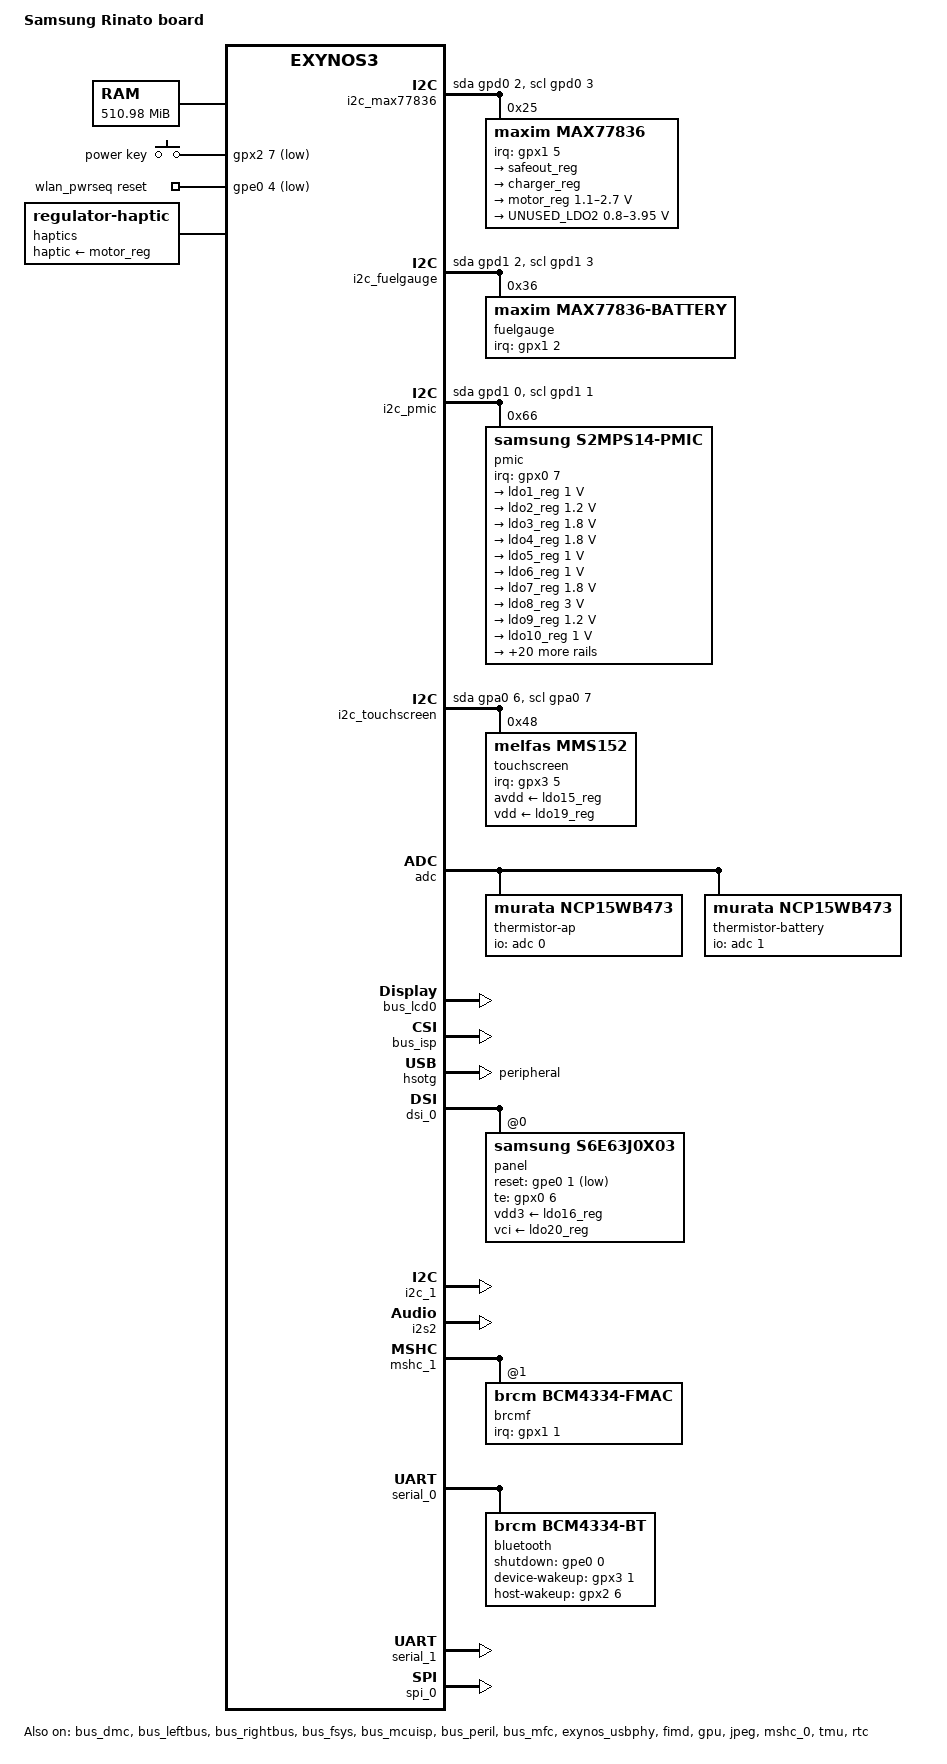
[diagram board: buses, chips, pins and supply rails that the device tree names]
// SPDX-License-Identifier: GPL-2.0
/*
 * Samsung's Exynos3250 based Rinato board device tree source
 *
 * Copyright (c) 2014 Samsung Electronics Co., Ltd.
 *		http://www.samsung.com
 *
 * Device tree source file for Samsung's Rinato board which is based on
 * Samsung Exynos3250 SoC.
 */

/dts-v1/;
#include "exynos3250.dtsi"
#include "exynos4412-ppmu-common.dtsi"
#include <dt-bindings/input/input.h>
#include <dt-bindings/gpio/gpio.h>
#include <dt-bindings/clock/samsung,s2mps11.h>

/ {
	model = "Samsung Rinato board";
	compatible = "samsung,rinato", "samsung,rinato-rev06",
			"samsung,exynos3250", "samsung,exynos3";
	chassis-type = "watch";

	aliases {
		i2c0 = &i2c_pmic;
		i2c1 = &i2c_touchscreen;
		i2c7 = &i2c_max77836;
		i2c14 = &i2c_fuelgauge;
		mmc0 = &mshc_0;
		mmc1 = &mshc_1;
	};

	chosen {
		stdout-path = &serial_1;
	};

	/* For ramoops, recoverable via upload mode */
	reserved-memory {
        #address-cells = <1>;
        #size-cells = <1>;
        ranges;

        ramoops@51000000 {
            compatible = "ramoops";
            reg = <0x51000000 0x100000>;
            record-size = <0x4000>;
            console-size = <0x4000>;
            ftrace-size = <0x4000>;
            pmsg-size = <0x4000>;
            ecc-size = <0x4000>;
			max-reason = <5>; /* Currently KMSG_DUMP_MAX */
        };
	};



	/*
	 * Memory actually starts at 0x40000000,
	 * but retail devices can use the first 16K of RAM for S-Boot debug purposes.
	 * Therefore, make main RAM start a bit later so we can also use this feature.
	 *
	 * Just leaving them in the memory node would result in multiple mappings
	 * and unpredictable behaviour when attempting access in the S-Boot
	 * debug driver.
	 *
	 * Unfortunately, just reserving the memory range doesn't seem to work.
	 */
	memory@40004000 {
		device_type = "memory";
		reg = <0x40004000 0x1fefc000>;
	};

	firmware@205f000 {
		compatible = "samsung,secure-firmware";
		reg = <0x0205f000 0x1000>;
	};

	gpio-keys {
		compatible = "gpio-keys";

		power-key {
			gpios = <&gpx2 7 GPIO_ACTIVE_LOW>;
			linux,code = <KEY_POWER>;
			label = "power key";
			debounce-interval = <10>;
			wakeup-source;
		};
	};

	wlan_pwrseq: mshc1-pwrseq {
		compatible = "mmc-pwrseq-simple";
		reset-gpios = <&gpe0 4 GPIO_ACTIVE_LOW>;
	};

	i2c_max77836: i2c-gpio-0 {
		compatible = "i2c-gpio";
		sda-gpios = <&gpd0 2 (GPIO_ACTIVE_HIGH | GPIO_OPEN_DRAIN)>;
		scl-gpios = <&gpd0 3 (GPIO_ACTIVE_HIGH | GPIO_OPEN_DRAIN)>;
		#address-cells = <1>;
		#size-cells = <0>;

		max77836: pmic@25 {
			compatible = "maxim,max77836";
			interrupt-parent = <&gpx1>;
			interrupts = <5 IRQ_TYPE_NONE>;
			reg = <0x25>;
			wakeup-source;

			extcon {
				compatible = "maxim,max77836-muic";
			};

			regulators {
				compatible = "maxim,max77836-regulator";
				safeout_reg: SAFEOUT {
					regulator-name = "SAFEOUT";
				};

				charger_reg: CHARGER {
					regulator-name = "CHARGER";
					regulator-min-microamp = <45000>;
					regulator-max-microamp = <475000>;
					regulator-boot-on;
				};

				motor_reg: LDO1 {
					regulator-name = "MOT_2.7V";
					regulator-min-microvolt = <1100000>;
					regulator-max-microvolt = <2700000>;
				};

				LDO2 {
					regulator-name = "UNUSED_LDO2";
					regulator-min-microvolt = <800000>;
					regulator-max-microvolt = <3950000>;
				};
			};

			charger {
				compatible = "maxim,max77836-charger";

				maxim,constant-uvolt = <4350000>;
				maxim,fast-charge-uamp = <225000>;
				maxim,eoc-uamp = <7500>;
				maxim,ovp-uvolt = <6500000>;
			};
		};
	};

	i2c_fuelgauge: i2c-gpio-1 {
		compatible = "i2c-gpio";
		sda-gpios = <&gpd1 2 (GPIO_ACTIVE_HIGH | GPIO_OPEN_DRAIN)>;
		scl-gpios = <&gpd1 3 (GPIO_ACTIVE_HIGH | GPIO_OPEN_DRAIN)>;
		#address-cells = <1>;
		#size-cells = <0>;
		status = "okay";

	/* fails to enumerate with max77836-battery: Failed to locate of_node [id: -1], maybe wrong addr? */
	/* Downstream code suggests true address might be 0xE (14), though 0x36 is also used */
		fuelgauge@36 {
			compatible = "maxim,max77836-battery";
			interrupt-parent = <&gpx1>;
			interrupts = <2 IRQ_TYPE_EDGE_RISING>;
			reg = <0x36>;
		};
	};

	/* For whatever reason, the builtin I2C master doesn't work at all */
	i2c_pmic: i2c-gpio-2 {
		compatible = "i2c-gpio";
		sda-gpios = <&gpd1 0 (GPIO_ACTIVE_HIGH | GPIO_OPEN_DRAIN)>;
		scl-gpios = <&gpd1 1 (GPIO_ACTIVE_HIGH | GPIO_OPEN_DRAIN)>;
		#address-cells = <1>;
		#size-cells = <0>;
		status = "okay";

		/* TODO: Unknown peripheral on this bus at addr 0x06 */

		pmic@66 {
			status = "okay";
			compatible = "samsung,s2mps14-pmic";
			interrupt-parent = <&gpx0>;
			interrupts = <7 IRQ_TYPE_LEVEL_LOW>;
			reg = <0x66>;
			wakeup-source;

			s2mps14_osc: clocks {
				compatible = "samsung,s2mps14-clk";
				#clock-cells = <1>;
				clock-output-names = "s2mps14_ap", "unused",
					"s2mps14_bt";
				status = "okay";
			};

			regulators {
				// This is unused in downstream, but having it on at low voltage *probably* doesn't hurt, nothing in dtree uses it
				ldo1_reg: LDO1 {
					status = "okay";
					regulator-name = "VAP_ALIVE_1.0V";
					regulator-min-microvolt = <1000000>;
					regulator-max-microvolt = <1000000>;
					regulator-always-on;

					regulator-state-mem {
						regulator-on-in-suspend;
					};
				};

				// Is vdd_ldo2_range dowstream (1.2 volts)
				ldo2_reg: LDO2 {
					status = "okay";
					regulator-name = "VAP_M1_1.2V";
					regulator-min-microvolt = <1200000>;
					regulator-max-microvolt = <1200000>;
					regulator-always-on;

					regulator-state-mem {
						regulator-off-in-suspend;
					};
				};

				// Matches downstream
				ldo3_reg: LDO3 {
					status = "okay";
					regulator-name = "VCC_AP_1.8V";
					regulator-min-microvolt = <1800000>;
					regulator-max-microvolt = <1800000>;
					regulator-always-on;

					regulator-state-mem {
						regulator-off-in-suspend;
					};
				};

				// Is vddq_mmc range downstream, delivers 1.8V
				ldo4_reg: LDO4 {
					status = "okay";
					regulator-name = "VAP_AVDD_PLL1";
					regulator-min-microvolt = <1800000>;
					regulator-max-microvolt = <1800000>;
					regulator-always-on;

					regulator-state-mem {
						regulator-off-in-suspend;
					};
				};

				// Is vdd_pll_1v8 downstream, delivers 1.0V
				ldo5_reg: LDO5 {
					status = "okay";
					regulator-name = "VAP_PLL_ISO_1.0V";
					regulator-min-microvolt = <1000000>;
					regulator-max-microvolt = <1000000>;
					regulator-always-on;

					regulator-state-mem {
						regulator-off-in-suspend;
					};
				};

				// Is vap_mipi_1.0v downstream
				ldo6_reg: LDO6 {
					status = "okay";
					regulator-name = "VAP_VMIPI_1.0V";
					regulator-min-microvolt = <1000000>;
					regulator-max-microvolt = <1000000>;
					regulator-always-on;

					regulator-state-mem {
						regulator-off-in-suspend;
					};
				};

				// Is vdd_ldo7 range downstream, delivers 1.8V
				ldo7_reg: LDO7 {
					status = "okay";
					regulator-name = "VAP_AVDD_1.8V";
					regulator-min-microvolt = <1800000>;
					regulator-max-microvolt = <1800000>;
					regulator-always-on;

					regulator-state-mem {
						regulator-off-in-suspend;
					};
				};

				// Matches downstream
				ldo8_reg: LDO8 {
					status = "okay";
					regulator-name = "VAP_USB_3.0V";
					regulator-min-microvolt = <3000000>;
					regulator-max-microvolt = <3000000>;
					regulator-always-on;

					regulator-state-mem {
						regulator-off-in-suspend;
					};
				};

				// Matches downstream
				ldo9_reg: LDO9 {
					status = "okay";
					regulator-name = "V_LPDDR_1.2V";
					regulator-min-microvolt = <1200000>;
					regulator-max-microvolt = <1200000>;
					regulator-always-on;

					regulator-state-mem {
						regulator-on-in-suspend;
					};
				};

				// Matches downstream
				ldo10_reg: LDO10 {
					status = "okay";
					regulator-name = "UNUSED_LDO10";
					regulator-min-microvolt = <1000000>;
					regulator-max-microvolt = <1000000>;

					regulator-state-mem {
						regulator-off-in-suspend;
					};
				};

				// Unused downstream
				ldo11_reg: LDO11 {
					status = "okay";
					regulator-name = "V_EMMC_1.8V";
					regulator-min-microvolt = <1800000>;
					regulator-max-microvolt = <1800000>;
					samsung,ext-control-gpios = <&gpk0 2 GPIO_ACTIVE_HIGH>;
				};

				// Unused downstream
				ldo12_reg: LDO12 {
					status = "okay";
					regulator-name = "V_EMMC_2.8V";
					regulator-min-microvolt = <2800000>;
					regulator-max-microvolt = <2800000>;
					samsung,ext-control-gpios = <&gpk0 2 GPIO_ACTIVE_HIGH>;
				};

				// Matches downstream
				ldo13_reg: LDO13 {
					status = "okay";
					regulator-name = "CAM_AVDD_2.8V";
					regulator-min-microvolt = <2800000>;
					regulator-max-microvolt = <2800000>;

					regulator-state-mem {
						regulator-off-in-suspend;
					};
				};

				// Is regulator-haptic downstream, delivers 1.1V to 2.7V, but seems unused on production revision
				ldo14_reg: LDO14 {
					status = "okay";
					regulator-name = "UNUSED_LDO14";
					regulator-min-microvolt = <2700000>;
					regulator-max-microvolt = <2700000>;

					regulator-state-mem {
						regulator-off-in-suspend;
					};
				};

				// Matches downstream
				ldo15_reg: LDO15 {
					status = "okay";
					regulator-name = "TSP_AVDD_3.3V";
					regulator-min-microvolt = <3300000>;
					regulator-max-microvolt = <3300000>;
					regulator-always-on;
					regulator-state-mem {
						regulator-off-in-suspend;
					};
				};

				// Delivers only 3.0V downstream
				ldo16_reg: LDO16 {
					status = "okay";
					regulator-name = "LCD_VDD_3.3V";
					regulator-min-microvolt = <3300000>;
					regulator-max-microvolt = <3300000>;

					regulator-state-mem {
						regulator-off-in-suspend;
					};
				};

				// Matches downstream
				ldo17_reg: LDO17 {
					status = "okay";
					regulator-name = "V_IRLED_3.3V";
					regulator-min-microvolt = <3300000>;
					regulator-max-microvolt = <3300000>;

					regulator-state-mem {
						regulator-off-in-suspend;
					};
				};

				// Matches downstream
				ldo18_reg: LDO18 {
					status = "okay";
					regulator-name = "CAM_AF_2.8V";
					regulator-min-microvolt = <2800000>;
					regulator-max-microvolt = <2800000>;

					regulator-state-mem {
						regulator-off-in-suspend;
					};
				};

				// Matches downstream
				ldo19_reg: LDO19 {
					status = "okay";
					regulator-name = "TSP_VDD_1.8V";
					regulator-min-microvolt = <1800000>;
					regulator-max-microvolt = <1800000>;
					regulator-always-on;

					regulator-state-mem {
						regulator-off-in-suspend;
					};
				};

				// Matches downstream
				ldo20_reg: LDO20 {
					status = "okay";
					regulator-name = "LCD_VDD_1.8V";
					regulator-min-microvolt = <1800000>;
					regulator-max-microvolt = <1800000>;
					regulator-always-on;

					regulator-state-mem {
						regulator-off-in-suspend;
					};
				};

				// Matches downstream
				ldo21_reg: LDO21 {
					status = "okay";
					regulator-name = "CAM_IO_1.8V";
					regulator-min-microvolt = <1800000>;
					regulator-max-microvolt = <1800000>;

					regulator-state-mem {
						regulator-off-in-suspend;
					};
				};

				// Matches downstream
				ldo22_reg: LDO22 {
					status = "okay";
					regulator-name = "CAM_DVDD_1.2V";
					regulator-min-microvolt = <1200000>;
					regulator-max-microvolt = <1200000>;

					regulator-state-mem {
						regulator-off-in-suspend;
					};
				};

				// Matches downstream
				ldo23_reg: LDO23 {
					status = "okay";
					regulator-name = "HRM_VCC_1.8V";
					regulator-min-microvolt = <1800000>;
					regulator-max-microvolt = <1800000>;
					regulator-always-on;
				};

				// Delivers 3.3V downstream
				ldo24_reg: LDO24 {
					status = "okay";
					regulator-name = "HRM_VCC_3.3V";
					regulator-min-microvolt = <3000000>;
					regulator-max-microvolt = <3000000>;

					regulator-state-mem {
						regulator-off-in-suspend;
					};
				};

				// Matches downstream
				ldo25_reg: LDO25 {
					status = "okay";
					regulator-name = "UNUSED_LDO25";
					regulator-min-microvolt = <3000000>;
					regulator-max-microvolt = <3000000>;

					regulator-state-mem {
						regulator-off-in-suspend;
					};
				};

				// vdd_mif range downstream, delivers 0.6 to 1.6V, seems like nothing is connected downstream
				buck1_reg: BUCK1 {
					status = "okay";
					regulator-name = "VAP_MIF_1.0V";
					regulator-min-microvolt = <800000>;
					regulator-max-microvolt = <900000>;
					regulator-always-on;
					// Set by downstream
					regulator-ramp-delay = <12>;

					regulator-state-mem {
						regulator-off-in-suspend;
					};
				};

				// Delivers 0.6V to 1.6V downstream
				buck2_reg: BUCK2 {
					status = "okay";
					regulator-name = "VAP_ARM_1.0V";
					regulator-min-microvolt = <850000>;
					regulator-max-microvolt = <1150000>;
					regulator-always-on;
					regulator-ramp-delay = <12>;

					regulator-state-mem {
						regulator-off-in-suspend;
					};
				};

				// Delivers 0.6V to 1.6V downstream
				buck3_reg: BUCK3 {
					status = "okay";
					regulator-name = "VAP_INT3D_1.0V";
					regulator-min-microvolt = <850000>;
					regulator-max-microvolt = <1000000>;
					regulator-always-on;
					regulator-ramp-delay = <12>;

					regulator-state-mem {
						regulator-off-in-suspend;
					};
				};

				// Unused downstream
				buck4_reg: BUCK4 {
					status = "okay";
					regulator-name = "VCC_SUB_1.95V";
					regulator-min-microvolt = <1950000>;
					regulator-max-microvolt = <1950000>;
					regulator-always-on;
					regulator-ramp-delay = <12>;

					regulator-state-mem {
						regulator-on-in-suspend;
					};
				};

				// Unused downstream
				buck5_reg: BUCK5 {
					status = "okay";
					regulator-name = "VCC_SUB_1.35V";
					regulator-min-microvolt = <1350000>;
					regulator-max-microvolt = <1350000>;
					regulator-always-on;
					regulator-ramp-delay = <12>;

					regulator-state-mem {
						regulator-on-in-suspend;
					};
				};
			};
		};
	};

	/* For whatever reason, the builtin I2C master doesn't work at all */
	i2c_touchscreen: i2c-gpio-3 {
		compatible = "i2c-gpio";
		sda-gpios = <&gpa0 6 (GPIO_ACTIVE_HIGH | GPIO_OPEN_DRAIN)>;
		scl-gpios = <&gpa0 7 (GPIO_ACTIVE_HIGH | GPIO_OPEN_DRAIN)>;
		#address-cells = <1>;
		#size-cells = <0>;
		status = "okay";

		/*
		* Some sources online suggest that the chip is an MCS8000, which would be supported by the MIP4 driver.
		* That's most likely incorrect, as the downstream kernel's driver code doesn't contain basic commands
		* from the MIP4 protocol, and it generally looks much more like an extended MMS152 protocol.
		* Samsung calls the model "Melfas W" in all their source code, no idea what the real model number is.
		*/
		touchscreen@48 {
			compatible = "melfas,mms152";
			reg = <0x48>;
			interrupt-parent = <&gpx3>;
			interrupts = <5 IRQ_TYPE_EDGE_FALLING>;
			status = "okay";

			/* Parameters are likely part of a configuration blob loaded by the driver and are ignored. Here for documentation purposes only. */
			touchscreen-size-x = <320>;
			touchscreen-size-y = <320>;

			avdd-supply = <&ldo15_reg>;
			vdd-supply = <&ldo19_reg>;
		};
	};

	haptics {
		compatible = "regulator-haptic";
		haptic-supply = <&motor_reg>;
		min-microvolt = <1100000>;
		max-microvolt = <2700000>;
	};

	thermal-zones {
		cpu_thermal: cpu-thermal {
			cooling-maps {
				map0 {
					/* Corresponds to 500MHz */
					cooling-device = <&cpu0 5 5>,
							 <&cpu1 5 5>;
				};
				map1 {
					/* Corresponds to 200MHz */
					cooling-device = <&cpu0 8 8>,
							 <&cpu1 8 8>;
				};
			};
		};
	};
};

&adc {
	vdd-supply = <&ldo3_reg>;
	status = "okay";
	assigned-clocks = <&cmu CLK_SCLK_TSADC>;
	assigned-clock-rates = <6000000>;

	thermistor-ap {
		compatible = "murata,ncp15wb473";
		pullup-uv = <1800000>;
		pullup-ohm = <100000>;
		pulldown-ohm = <100000>;
		io-channels = <&adc 0>;
	};

	thermistor-battery {
		compatible = "murata,ncp15wb473";
		pullup-uv = <1800000>;
		pullup-ohm = <100000>;
		pulldown-ohm = <100000>;
		io-channels = <&adc 1>;
	};
};

&bus_dmc {
	devfreq-events = <&ppmu_dmc0_3>, <&ppmu_dmc1_3>;
	vdd-supply = <&buck1_reg>;
	status = "okay";
};

&bus_leftbus {
	devfreq-events = <&ppmu_leftbus_3>, <&ppmu_rightbus_3>;
	vdd-supply = <&buck3_reg>;
	status = "okay";
};

&bus_rightbus {
	devfreq = <&bus_leftbus>;
	status = "okay";
};

&bus_lcd0 {
	devfreq = <&bus_leftbus>;
	status = "okay";
};

&bus_fsys {
	devfreq = <&bus_leftbus>;
	status = "okay";
};

&bus_mcuisp {
	devfreq = <&bus_leftbus>;
	status = "okay";
};

&bus_isp {
	devfreq = <&bus_leftbus>;
	status = "okay";
};

&bus_peril {
	devfreq = <&bus_leftbus>;
	status = "okay";
};

&bus_mfc {
	devfreq = <&bus_leftbus>;
	status = "okay";
};

&cmu {
	clocks = <&xusbxti>;
};

&cpu0 {
	cpu0-supply = <&buck2_reg>;
};

&exynos_usbphy {
	status = "okay";
	vbus-supply = <&safeout_reg>;
};

&hsotg {
	vusb_d-supply = <&ldo15_reg>;
	vusb_a-supply = <&ldo12_reg>;
	dr_mode = "peripheral";
	status = "okay";
};

&dsi_0 {
	vddcore-supply = <&ldo6_reg>;
	vddio-supply = <&ldo6_reg>;
	samsung,burst-clock-frequency = <250000000>;
	samsung,esc-clock-frequency = <20000000>;
	samsung,pll-clock-frequency = <24000000>;
	status = "okay";

	panel@0 {
		compatible = "samsung,s6e63j0x03";
		reg = <0>;
		vdd3-supply = <&ldo16_reg>;
		vci-supply = <&ldo20_reg>;
		reset-gpios = <&gpe0 1 GPIO_ACTIVE_LOW>;
		te-gpios = <&gpx0 6 GPIO_ACTIVE_HIGH>;
	};
};

&fimd {
	status = "okay";

	i80-if-timings {
		cs-setup = <0>;
		wr-setup = <0>;
		wr-active = <1>;
		wr-hold = <0>;
	};
};

&gpu {
	mali-supply = <&buck3_reg>;
	status = "okay";
};





&i2c_1 {
	#address-cells = <1>;
	#size-cells = <0>;
	samsung,i2c-sda-delay = <100>;
	samsung,i2c-slave-addr = <0x10>;
	samsung,i2c-max-bus-freq = <400000>;
	status = "okay";

};

&i2s2 {
	status = "okay";
};

&jpeg {
	status = "okay";
};

&mshc_0 {
	broken-cd;
	non-removable;
	cap-mmc-highspeed;
	mmc-hs200-1_8v;
	card-detect-delay = <200>;
	/* In mainline, LDO12 is set as the supplier, but downstream uses LDO4.
	 * Maybe this is a copy-paste mistake from monk or artik5?
	 * Either, way, it seems like voltage negotiation is broken in a similar way
	 * to one of artik5's MMC controllers, meaning that just leaving vmmc-supply undefined
	 * is apparently the only way to get it to work.
	 * vmmc-supply = <&ldo12_reg>;
	 * vmmc-supply = <&ldo4_reg>;
	 */
	clock-frequency = <100000000>;
	max-frequency = <100000000>;
	mmc-ddr-1_8v;
	samsung,dw-mshc-ciu-div = <1>;
	samsung,dw-mshc-sdr-timing = <0 1>;
	samsung,dw-mshc-ddr-timing = <1 2>;
	pinctrl-names = "default";
	pinctrl-0 = <&sd0_cmd &sd0_bus1 &sd0_bus4 &sd0_bus8>;
	bus-width = <8>;
	status = "okay";
};

&mshc_1 {
	status = "okay";

	#address-cells = <1>;
	#size-cells = <0>;

	non-removable;
	cap-sd-highspeed;
	cap-sdio-irq;
	keep-power-in-suspend;
	samsung,dw-mshc-ciu-div = <1>;
	samsung,dw-mshc-sdr-timing = <0 1>;
	samsung,dw-mshc-ddr-timing = <1 2>;
	pinctrl-names = "default";
	pinctrl-0 = <&sd1_clk &sd1_cmd &sd1_bus1 &sd1_bus4>;
	bus-width = <4>;

	mmc-pwrseq = <&wlan_pwrseq>;

	brcmf: wifi@1 {
		compatible = "brcm,bcm4334-fmac", "brcm,bcm4329-fmac";
		reg = <1>;

		interrupt-parent = <&gpx1>;
		interrupts = <1 IRQ_TYPE_LEVEL_HIGH>;
		interrupt-names = "host-wake";
	};
};

&serial_0 {
	assigned-clocks = <&cmu CLK_SCLK_UART0>;
	assigned-clock-rates = <100000000>;
	status = "okay";

	bluetooth {
		compatible = "brcm,bcm4334-bt", "brcm,bcm4330-bt", "brcm,bcm4329-bt";
		max-speed = <3000000>;
		shutdown-gpios = <&gpe0 0 GPIO_ACTIVE_HIGH>;
		device-wakeup-gpios = <&gpx3 1 GPIO_ACTIVE_HIGH>;
		host-wakeup-gpios = <&gpx2 6 GPIO_ACTIVE_HIGH>;
		clocks = <&s2mps14_osc S2MPS11_CLK_BT>;
	};
};

&serial_1 {
	status = "okay";
};

&tmu {
	vtmu-supply = <&ldo7_reg>;
	status = "okay";
};

&rtc {
	clocks = <&cmu CLK_RTC>, <&s2mps14_osc S2MPS11_CLK_AP>;
	clock-names = "rtc", "rtc_src";
	status = "okay";
};

&xusbxti {
	clock-frequency = <24000000>;
};

&spi_0 {
	status = "okay";

	/* Taken from artik5, let's hope they match */
	cs-gpios = <&gpx3 4 GPIO_ACTIVE_LOW>, <0>;
	assigned-clocks = <&cmu CLK_MOUT_SPI0>, <&cmu CLK_DIV_SPI0>,
		<&cmu CLK_DIV_SPI0_PRE>, <&cmu CLK_SCLK_SPI0>;
	assigned-clock-parents = <&cmu CLK_DIV_MPLL_PRE>, /* for: CLK_MOUT_SPI0 */
		<&cmu CLK_MOUT_SPI0>,    /* for: CLK_DIV_SPI0 */
		<&cmu CLK_DIV_SPI0>,     /* for: CLK_DIV_SPI0_PRE */
		<&cmu CLK_DIV_SPI0_PRE>; /* for: CLK_SCLK_SPI0 */

	/* Taken pretty much straight from binding description */
	sensorhub@0 {
		status = "disabled";
		compatible = "samsung,sensorhub-rinato";
		reg = <0>;
		spi-max-frequency = <5000000>;
		interrupt-parent = <&gpx0>;
		interrupts = <2 0>;
		ap-mcu-gpios = <&gpx0 0 GPIO_ACTIVE_HIGH>;
		mcu-ap-gpios = <&gpx0 4 GPIO_ACTIVE_HIGH>;
		mcu-reset-gpios = <&gpx0 5 GPIO_ACTIVE_HIGH>;

		/* Also taken from artik5, not sure if needed */
		controller-data {
			samsung,spi-feedback-delay = <2>;
		};
	};
};



&pinctrl_0 {
	pinctrl-names = "default";
	pinctrl-0 = <&initial0 &sleep0>;

	initial0: initial-state {
		PIN_IN(gpa1-4, DOWN, LV1);
		PIN_IN(gpa1-5, DOWN, LV1);

		PIN_IN(gpc0-0, DOWN, LV1);
		PIN_IN(gpc0-1, DOWN, LV1);
		PIN_IN(gpc0-2, DOWN, LV1);
		PIN_IN(gpc0-3, DOWN, LV1);
		PIN_IN(gpc0-4, DOWN, LV1);

		PIN_IN(gpd0-0, DOWN, LV1);
		PIN_IN(gpd0-1, DOWN, LV1);
	};

	sleep0: sleep-state {
		PIN_SLP(gpa0-0, INPUT, DOWN);
		PIN_SLP(gpa0-1, INPUT, DOWN);
		PIN_SLP(gpa0-2, INPUT, DOWN);
		PIN_SLP(gpa0-3, INPUT, DOWN);
		PIN_SLP(gpa0-4, INPUT, DOWN);
		PIN_SLP(gpa0-5, INPUT, DOWN);
		PIN_SLP(gpa0-6, INPUT, DOWN);
		PIN_SLP(gpa0-7, INPUT, DOWN);

		PIN_SLP(gpa1-0, INPUT, DOWN);
		PIN_SLP(gpa1-1, INPUT, DOWN);
		PIN_SLP(gpa1-2, INPUT, DOWN);
		PIN_SLP(gpa1-3, INPUT, DOWN);
		PIN_SLP(gpa1-4, INPUT, DOWN);
		PIN_SLP(gpa1-5, INPUT, DOWN);

		PIN_SLP(gpb-0, PREV, NONE);
		PIN_SLP(gpb-1, PREV, NONE);
		PIN_SLP(gpb-2, PREV, NONE);
		PIN_SLP(gpb-3, PREV, NONE);
		PIN_SLP(gpb-4, INPUT, DOWN);
		PIN_SLP(gpb-5, INPUT, DOWN);
		PIN_SLP(gpb-6, INPUT, DOWN);
		PIN_SLP(gpb-7, INPUT, DOWN);

		PIN_SLP(gpc0-0, INPUT, DOWN);
		PIN_SLP(gpc0-1, INPUT, DOWN);
		PIN_SLP(gpc0-2, INPUT, DOWN);
		PIN_SLP(gpc0-3, INPUT, DOWN);
		PIN_SLP(gpc0-4, INPUT, DOWN);

		PIN_SLP(gpc1-0, INPUT, DOWN);
		PIN_SLP(gpc1-1, INPUT, DOWN);
		PIN_SLP(gpc1-2, INPUT, DOWN);
		PIN_SLP(gpc1-3, INPUT, DOWN);
		PIN_SLP(gpc1-4, INPUT, DOWN);

		PIN_SLP(gpd0-0, INPUT, DOWN);
		PIN_SLP(gpd0-1, INPUT, DOWN);
		PIN_SLP(gpd0-2, INPUT, NONE);
		PIN_SLP(gpd0-3, INPUT, NONE);

		PIN_SLP(gpd1-0, INPUT, NONE);
		PIN_SLP(gpd1-1, INPUT, NONE);
		PIN_SLP(gpd1-2, INPUT, NONE);
		PIN_SLP(gpd1-3, INPUT, NONE);
	};
};

&pinctrl_1 {
	pinctrl-names = "default";
	pinctrl-0 = <&initial1 &sleep1>;

	initial1: initial-state {
		PIN_IN(gpe0-6, DOWN, LV1);
		PIN_IN(gpe0-7, DOWN, LV1);

		PIN_IN(gpe1-0, DOWN, LV1);
		PIN_IN(gpe1-3, DOWN, LV1);
		PIN_IN(gpe1-4, DOWN, LV1);
		PIN_IN(gpe1-5, DOWN, LV1);
		PIN_IN(gpe1-6, DOWN, LV1);

		PIN_IN(gpk2-0, DOWN, LV1);
		PIN_IN(gpk2-1, DOWN, LV1);
		PIN_IN(gpk2-2, DOWN, LV1);
		PIN_IN(gpk2-3, DOWN, LV1);
		PIN_IN(gpk2-4, DOWN, LV1);
		PIN_IN(gpk2-5, DOWN, LV1);
		PIN_IN(gpk2-6, DOWN, LV1);

		PIN_IN(gpm0-0, DOWN, LV1);
		PIN_IN(gpm0-1, DOWN, LV1);
		PIN_IN(gpm0-2, DOWN, LV1);
		PIN_IN(gpm0-3, DOWN, LV1);
		PIN_IN(gpm0-4, DOWN, LV1);
		PIN_IN(gpm0-5, DOWN, LV1);
		PIN_IN(gpm0-6, DOWN, LV1);
		PIN_IN(gpm0-7, DOWN, LV1);

		PIN_IN(gpm1-0, DOWN, LV1);
		PIN_IN(gpm1-1, DOWN, LV1);
		PIN_IN(gpm1-2, DOWN, LV1);
		PIN_IN(gpm1-3, DOWN, LV1);
		PIN_IN(gpm1-4, DOWN, LV1);
		PIN_IN(gpm1-5, DOWN, LV1);
		PIN_IN(gpm1-6, DOWN, LV1);

		PIN_IN(gpm2-0, DOWN, LV1);
		PIN_IN(gpm2-1, DOWN, LV1);

		PIN_IN(gpm3-0, DOWN, LV1);
		PIN_IN(gpm3-1, DOWN, LV1);
		PIN_IN(gpm3-2, DOWN, LV1);
		PIN_IN(gpm3-3, DOWN, LV1);
		PIN_IN(gpm3-4, DOWN, LV1);

		PIN_IN(gpm4-1, DOWN, LV1);
		PIN_IN(gpm4-2, DOWN, LV1);
		PIN_IN(gpm4-3, DOWN, LV1);
		PIN_IN(gpm4-4, DOWN, LV1);
		PIN_IN(gpm4-5, DOWN, LV1);
		PIN_IN(gpm4-6, DOWN, LV1);
		PIN_IN(gpm4-7, DOWN, LV1);
	};

	sleep1: sleep-state {
		PIN_SLP(gpe0-0, PREV, NONE);
		PIN_SLP(gpe0-1, PREV, NONE);
		PIN_SLP(gpe0-2, INPUT, DOWN);
		PIN_SLP(gpe0-3, INPUT, UP);
		PIN_SLP(gpe0-4, INPUT, DOWN);
		PIN_SLP(gpe0-5, INPUT, DOWN);
		PIN_SLP(gpe0-6, INPUT, DOWN);
		PIN_SLP(gpe0-7, INPUT, DOWN);

		PIN_SLP(gpe1-0, INPUT, DOWN);
		PIN_SLP(gpe1-1, PREV, NONE);
		PIN_SLP(gpe1-2, INPUT, DOWN);
		PIN_SLP(gpe1-3, INPUT, DOWN);
		PIN_SLP(gpe1-4, INPUT, DOWN);
		PIN_SLP(gpe1-5, INPUT, DOWN);
		PIN_SLP(gpe1-6, INPUT, DOWN);
		PIN_SLP(gpe1-7, INPUT, NONE);

		PIN_SLP(gpe2-0, INPUT, NONE);
		PIN_SLP(gpe2-1, INPUT, NONE);
		PIN_SLP(gpe2-2, INPUT, NONE);

		PIN_SLP(gpk0-0, INPUT, DOWN);
		PIN_SLP(gpk0-1, INPUT, DOWN);
		PIN_SLP(gpk0-2, OUT0, NONE);
		PIN_SLP(gpk0-3, INPUT, DOWN);
		PIN_SLP(gpk0-4, INPUT, DOWN);
		PIN_SLP(gpk0-5, INPUT, DOWN);
		PIN_SLP(gpk0-6, INPUT, DOWN);
		PIN_SLP(gpk0-7, INPUT, DOWN);

		PIN_SLP(gpk1-0, INPUT, DOWN);
		PIN_SLP(gpk1-1, INPUT, DOWN);
		PIN_SLP(gpk1-2, INPUT, DOWN);
		PIN_SLP(gpk1-3, INPUT, DOWN);
		PIN_SLP(gpk1-4, INPUT, DOWN);
		PIN_SLP(gpk1-5, INPUT, DOWN);
		PIN_SLP(gpk1-6, INPUT, DOWN);

		PIN_SLP(gpk2-0, INPUT, DOWN);
		PIN_SLP(gpk2-1, INPUT, DOWN);
		PIN_SLP(gpk2-2, INPUT, DOWN);
		PIN_SLP(gpk2-3, INPUT, DOWN);
		PIN_SLP(gpk2-4, INPUT, DOWN);
		PIN_SLP(gpk2-5, INPUT, DOWN);
		PIN_SLP(gpk2-6, INPUT, DOWN);

		PIN_SLP(gpl0-0, INPUT, DOWN);
		PIN_SLP(gpl0-1, INPUT, DOWN);
		PIN_SLP(gpl0-2, INPUT, DOWN);
		PIN_SLP(gpl0-3, INPUT, DOWN);

		PIN_SLP(gpm0-0, INPUT, DOWN);
		PIN_SLP(gpm0-1, INPUT, DOWN);
		PIN_SLP(gpm0-2, INPUT, DOWN);
		PIN_SLP(gpm0-3, INPUT, DOWN);
		PIN_SLP(gpm0-4, INPUT, DOWN);
		PIN_SLP(gpm0-5, INPUT, DOWN);
		PIN_SLP(gpm0-6, INPUT, DOWN);
		PIN_SLP(gpm0-7, INPUT, DOWN);

		PIN_SLP(gpm1-0, INPUT, DOWN);
		PIN_SLP(gpm1-1, INPUT, DOWN);
		PIN_SLP(gpm1-2, INPUT, DOWN);
		PIN_SLP(gpm1-3, INPUT, DOWN);
		PIN_SLP(gpm1-4, INPUT, DOWN);
		PIN_SLP(gpm1-5, INPUT, DOWN);
		PIN_SLP(gpm1-6, INPUT, DOWN);

		PIN_SLP(gpm2-0, INPUT, DOWN);
		PIN_SLP(gpm2-1, INPUT, DOWN);
		PIN_SLP(gpm2-2, INPUT, DOWN);
		PIN_SLP(gpm2-3, INPUT, DOWN);
		PIN_SLP(gpm2-4, INPUT, DOWN);

		PIN_SLP(gpm3-0, INPUT, DOWN);
		PIN_SLP(gpm3-1, INPUT, DOWN);
		PIN_SLP(gpm3-2, INPUT, DOWN);
		PIN_SLP(gpm3-3, INPUT, DOWN);
		PIN_SLP(gpm3-4, INPUT, DOWN);
		PIN_SLP(gpm3-5, INPUT, DOWN);
		PIN_SLP(gpm3-6, INPUT, DOWN);
		PIN_SLP(gpm3-7, INPUT, DOWN);

		PIN_SLP(gpm4-0, INPUT, DOWN);
		PIN_SLP(gpm4-1, INPUT, DOWN);
		PIN_SLP(gpm4-2, INPUT, DOWN);
		PIN_SLP(gpm4-3, INPUT, DOWN);
		PIN_SLP(gpm4-4, INPUT, DOWN);
		PIN_SLP(gpm4-5, INPUT, DOWN);
		PIN_SLP(gpm4-6, INPUT, DOWN);
		PIN_SLP(gpm4-7, INPUT, DOWN);
	};
};
